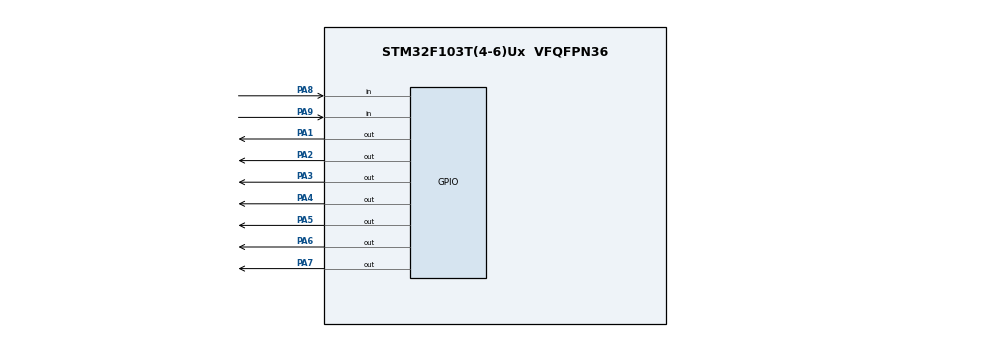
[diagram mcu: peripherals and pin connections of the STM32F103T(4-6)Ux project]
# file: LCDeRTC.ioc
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Mcu.Family=STM32F1
Mcu.Name=STM32F103T(4-6)Ux
Mcu.Package=VFQFPN36
NVIC.PriorityGroup=NVIC_PRIORITYGROUP_4
PA1.Signal=GPIO_Output
PA2.Signal=GPIO_Output
PA3.Signal=GPIO_Output
PA4.Signal=GPIO_Output
PA5.Signal=GPIO_Output
PA6.Signal=GPIO_Output
PA7.Signal=GPIO_Output
PA8.Signal=GPIO_Input
PA9.Signal=GPIO_Input
ProjectManager.HeapSize=0x200
ProjectManager.StackSize=0x400
ProjectManager.TargetToolchain=STM32CubeIDE
RCC.APB1Freq_Value=8000000
RCC.APB2Freq_Value=8000000
RTC.Hours=21
RTC.Minutes=17
VP_RTC_VS_RTC_Activate.Mode=RTC_Enabled
VP_RTC_VS_RTC_Calendar.Mode=RTC_Calendar
VP_SYS_VS_ND.Mode=No_Debug
board=custom

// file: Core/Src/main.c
/* USER CODE BEGIN Header */
/**
  ******************************************************************************
  * @file           : main.c
  * @brief          : Main program body
  ******************************************************************************
  * @attention
  *
  * Copyright (c) 2024 STMicroelectronics.
  * All rights reserved.
  *
  * This software is licensed under terms that can be found in the LICENSE file
  * in the root directory of this software component.
  * If no LICENSE file comes with this software, it is provided AS-IS.
  *
  ******************************************************************************
  */
/* USER CODE END Header */
#include "main.h"

/* USER CODE BEGIN Includes */

#include "LiquidCrystal.h"	// biblioteca na pasta Inc

/* USER CODE END Includes */

 RTC_HandleTypeDef hrtc;

void SystemClock_Config(void);
static void MX_GPIO_Init(void);
static void MX_RTC_Init(void);

/* USER CODE BEGIN 0 */

void change_clock();

/* USER CODE END 0 */

int main(void)
{

  /* MCU Configuration--------------------------------------------------------*/

  /* Reset of all peripherals, Initializes the Flash interface and the Systick. */
  HAL_Init();

  /* Configure the system clock */
  SystemClock_Config();

  /* Initialize all configured peripherals */
  MX_GPIO_Init();
  MX_RTC_Init();
  /* USER CODE BEGIN 2 */
  LiquidCrystal(GPIOA, GPIO_PIN_1, GPIO_PIN_2, GPIO_PIN_3, GPIO_PIN_4, GPIO_PIN_5, GPIO_PIN_6, GPIO_PIN_7);
 char caracteres[3];
  RTC_TimeTypeDef sTime = {0};
  HAL_RTC_GetTime(&hrtc, &sTime, RTC_FORMAT_BCD);
  caracteres[0] = (char)((sTime.Hours >> 4) + 48);	// Conversão de número para ASCII é só somar 48
  caracteres[1] = (char)((sTime.Hours & 0x0F) + 48);
  caracteres[2] = '\0';
  print(caracteres);
  print("h");

  caracteres[0] = (char) ((sTime.Minutes >> 4) + 48);
  caracteres[1] = (char) ((sTime.Minutes & 0x0F) + 48);
  caracteres[2] = '\0';
  print(caracteres);
  print("min");

  caracteres[0] = (char) ((sTime.Seconds >> 4) + 48);
  caracteres[1] = (char) ((sTime.Seconds & 0x0F) + 48);
  caracteres[2] = '\0';
  print(caracteres);
  print("s");
  setCursor(0, 1);
  print("Bom Dia Gurizada");
  HAL_Delay(500);
  setCursor(0, 1);
  print("                ");
  HAL_Delay(500);
  /* USER CODE END 2 */

  /* Infinite loop */
  while (1)
  {
	  HAL_RTC_GetTime(&hrtc, &sTime, RTC_FORMAT_BCD);
	    caracteres[0] = (char)((sTime.Hours >> 4) + 48);	// Conversão de número para ASCII é só somar 48
	    caracteres[1] = (char)((sTime.Hours & 0x0F) + 48);
	    caracteres[2] = '\0';
	    setCursor(0, 0);
	    print(caracteres);
	    print("h");

	    caracteres[0] = (char) ((sTime.Minutes >> 4) + 48);
	    caracteres[1] = (char) ((sTime.Minutes & 0x0F) + 48);
	    caracteres[2] = '\0';
	    print(caracteres);
	    print("min");

	    caracteres[0] = (char) ((sTime.Seconds >> 4) + 48);
	    caracteres[1] = (char) ((sTime.Seconds & 0x0F) + 48);
	    caracteres[2] = '\0';
	    print(caracteres);
	    print("s");
  }
}

void SystemClock_Config(void)
{
  RCC_OscInitTypeDef RCC_OscInitStruct = {0};
  RCC_ClkInitTypeDef RCC_ClkInitStruct = {0};
  RCC_PeriphCLKInitTypeDef PeriphClkInit = {0};

  /** Initializes the RCC Oscillators according to the specified parameters
  * in the RCC_OscInitTypeDef structure.
  */
  RCC_OscInitStruct.OscillatorType = RCC_OSCILLATORTYPE_HSI|RCC_OSCILLATORTYPE_LSI;
  RCC_OscInitStruct.HSIState = RCC_HSI_ON;
  RCC_OscInitStruct.HSICalibrationValue = RCC_HSICALIBRATION_DEFAULT;
  RCC_OscInitStruct.LSIState = RCC_LSI_ON;
  RCC_OscInitStruct.PLL.PLLState = RCC_PLL_NONE;
  if (HAL_RCC_OscConfig(&RCC_OscInitStruct) != HAL_OK)
  {
    Error_Handler();
  }

  /** Initializes the CPU, AHB and APB buses clocks
  */
  RCC_ClkInitStruct.ClockType = RCC_CLOCKTYPE_HCLK|RCC_CLOCKTYPE_SYSCLK
                              |RCC_CLOCKTYPE_PCLK1|RCC_CLOCKTYPE_PCLK2;
  RCC_ClkInitStruct.SYSCLKSource = RCC_SYSCLKSOURCE_HSI;
  RCC_ClkInitStruct.AHBCLKDivider = RCC_SYSCLK_DIV1;
  RCC_ClkInitStruct.APB1CLKDivider = RCC_HCLK_DIV1;
  RCC_ClkInitStruct.APB2CLKDivider = RCC_HCLK_DIV1;

  if (HAL_RCC_ClockConfig(&RCC_ClkInitStruct, FLASH_LATENCY_0) != HAL_OK)
  {
    Error_Handler();
  }
  PeriphClkInit.PeriphClockSelection = RCC_PERIPHCLK_RTC;
  PeriphClkInit.RTCClockSelection = RCC_RTCCLKSOURCE_LSI;
  if (HAL_RCCEx_PeriphCLKConfig(&PeriphClkInit) != HAL_OK)
  {
    Error_Handler();
  }
}

static void MX_RTC_Init(void)
{

  RTC_TimeTypeDef sTime = {0};
  RTC_DateTypeDef DateToUpdate = {0};

  /** Initialize RTC Only
  */
  hrtc.Instance = RTC;
  hrtc.Init.AsynchPrediv = RTC_AUTO_1_SECOND;
  hrtc.Init.OutPut = RTC_OUTPUTSOURCE_ALARM;
  if (HAL_RTC_Init(&hrtc) != HAL_OK)
  {
    Error_Handler();
  }

  /** Initialize RTC and set the Time and Date
  */
  sTime.Hours = 0x21;
  sTime.Minutes = 0x17;
  sTime.Seconds = 0x55;

  if (HAL_RTC_SetTime(&hrtc, &sTime, RTC_FORMAT_BCD) != HAL_OK)
  {
    Error_Handler();
  }
  DateToUpdate.WeekDay = RTC_WEEKDAY_MONDAY;
  DateToUpdate.Month = RTC_MONTH_JANUARY;
  DateToUpdate.Date = 0x1;
  DateToUpdate.Year = 0x0;

  if (HAL_RTC_SetDate(&hrtc, &DateToUpdate, RTC_FORMAT_BCD) != HAL_OK)
  {
    Error_Handler();
  }

}

static void MX_GPIO_Init(void)
{
  GPIO_InitTypeDef GPIO_InitStruct = {0};

  /* GPIO Ports Clock Enable */
  __HAL_RCC_GPIOA_CLK_ENABLE();

  /*Configure GPIO pin Output Level */
  HAL_GPIO_WritePin(GPIOA, GPIO_PIN_1|GPIO_PIN_2|GPIO_PIN_3|GPIO_PIN_4
                          |GPIO_PIN_5|GPIO_PIN_6|GPIO_PIN_7, GPIO_PIN_RESET);

  /*Configure GPIO pins : PA1 PA2 PA3 PA4
                           PA5 PA6 PA7 */
  GPIO_InitStruct.Pin = GPIO_PIN_1|GPIO_PIN_2|GPIO_PIN_3|GPIO_PIN_4
                          |GPIO_PIN_5|GPIO_PIN_6|GPIO_PIN_7;
  GPIO_InitStruct.Mode = GPIO_MODE_OUTPUT_PP;
  GPIO_InitStruct.Pull = GPIO_NOPULL;
  GPIO_InitStruct.Speed = GPIO_SPEED_FREQ_LOW;
  HAL_GPIO_Init(GPIOA, &GPIO_InitStruct);

  /*Configure GPIO pins : PA8 PA9 */
  GPIO_InitStruct.Pin = GPIO_PIN_8|GPIO_PIN_9;
  GPIO_InitStruct.Mode = GPIO_MODE_INPUT;
  GPIO_InitStruct.Pull = GPIO_NOPULL;
  HAL_GPIO_Init(GPIOA, &GPIO_InitStruct);

}

/* USER CODE BEGIN 4 */
void change_clock()
{
	//RTC_TimeTypeDef sTime = {0};
	//sTime.Hours = 0x0;
	//sTime.Minutes = 0x0;
	//sTime.Seconds = 0x0;
	//HAL_RTC_SetTime(&hrtc, &sTime, RTC_FORMAT_BCD)
}
/* USER CODE END 4 */

void Error_Handler(void)
{
  __disable_irq();
  while (1)
  {
  }
}
